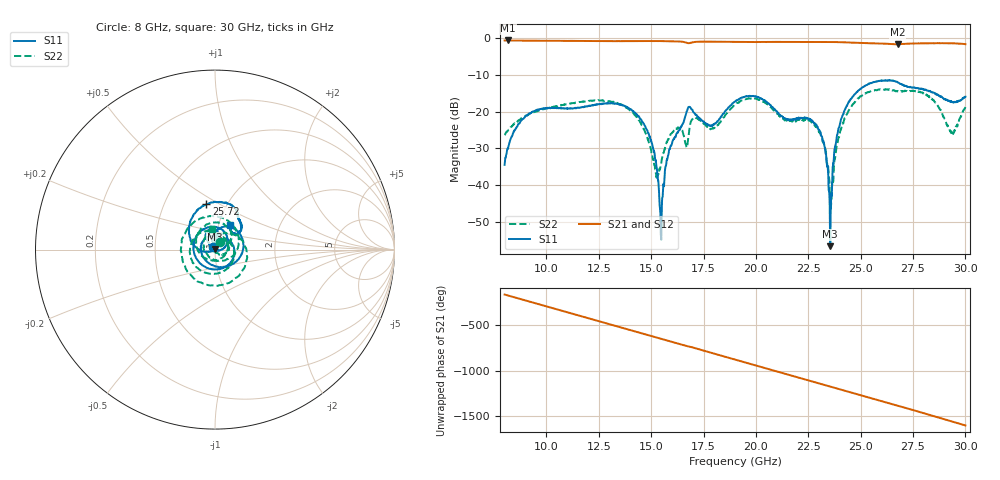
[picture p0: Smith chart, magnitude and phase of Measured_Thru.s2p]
!Agilent Technologies,N5247A,US51370446,A.10.00.00
!Agilent N5247A: A.10.00.00
!Date: Tuesday, October 16, 2018 05:04:15
!Correction: S11(Full 2 Port(1,2))
!S21(Full 2 Port(1,2))
!S12(Full 2 Port(1,2))
!S22(Full 2 Port(1,2))
!S2P File: Measurements: S11, S21, S12, S22:
# Hz S  RI  R 50
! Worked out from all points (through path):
!   2001 points, 8 GHz to 30 GHz, reference 50 ohm
!   highest |S21| = -0.55 dB at 8.176 GHz (marker M1); lowest = -1.6 dB at 26.77 GHz (marker M2)
!   group delay of S21, straight-line fit = 182 ps
!   lowest |S11| = -56.7 dB at 23.54 GHz (marker M3), VSWR 1.00, Z = 49.9 + j0.121 ohm
!   |S11| at or under -10 dB: start of sweep to end of sweep
!   |S22| runs from -46.4 to -13.9 dB; largest |S21 - S12| = 0.011
!   S11 on the Smith chart (normalised r, x): 8 GHz: 0.98, +0.03; 25.72 GHz: 0.80, +0.43; 30 GHz: 1.13, +0.32
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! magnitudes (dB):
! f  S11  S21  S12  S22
! 8 GHz  -34.5  -0.6  -0.6  -26.4
! 8.176 GHz  -29.7  -0.6  -0.6  -25.1
! 9.254 GHz  -20.3  -0.6  -0.6  -20.5
! 11.67 GHz  -18.8  -0.7  -0.7  -17.3
! 14.31 GHz  -20.8  -0.7  -0.7  -21.5
! 15.04 GHz  -28.7  -0.7  -0.7  -31.7
! 15.34 GHz  -38.7  -0.7  -0.7  -37.1
! 15.5 GHz  -47.6  -0.7  -0.7  -33.2
! 15.84 GHz  -30.8  -0.7  -0.8  -27.2
! 16.78 GHz  -18.8  -1.3  -1.3  -26.7
! 17.84 GHz  -23.9  -0.9  -0.9  -24.7
! 19 GHz  -17.2  -0.9  -1.0  -18.1
! 22.67 GHz  -22.4  -1.0  -1.0  -23.0
! 23.23 GHz  -28.3  -1.0  -1.0  -28.4
! 23.54 GHz  -56.7  -1.0  -1.0  -44.5
! 24.16 GHz  -20.8  -1.1  -1.1  -23.2
! 25.72 GHz  -11.8  -1.4  -1.4  -14.1
! 26.34 GHz  -11.4  -1.5  -1.5  -13.9
! 26.77 GHz  -11.9  -1.6  -1.6  -14.5
! 28.3 GHz  -14.4  -1.3  -1.3  -16.0
! 29.35 GHz  -17.3  -1.3  -1.3  -25.7
! 30 GHz  -15.9  -1.6  -1.6  -18.7
